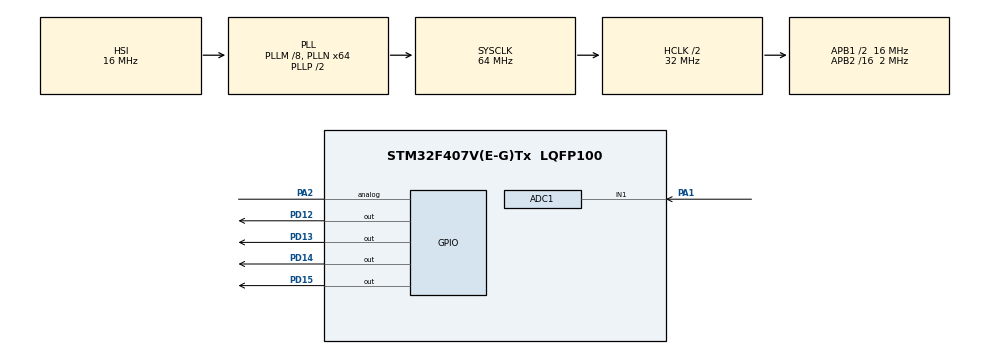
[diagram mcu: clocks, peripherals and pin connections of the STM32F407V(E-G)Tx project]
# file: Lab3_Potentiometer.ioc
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ADC1.Channel-0\#ChannelRegularConversion=ADC_CHANNEL_1
ADC1.ClockPrescaler=ADC_CLOCK_SYNC_PCLK_DIV2
ADC1.EnableAnalogWatchDog=false
ADC1.NbrOfConversionFlag=1
ADC1.Rank-0\#ChannelRegularConversion=1
ADC1.SamplingTime-0\#ChannelRegularConversion=ADC_SAMPLETIME_3CYCLES
ADC1.ScanConvMode=DISABLE
ADC1.master=1
Mcu.Family=STM32F4
Mcu.Name=STM32F407V(E-G)Tx
Mcu.Package=LQFP100
NVIC.PriorityGroup=NVIC_PRIORITYGROUP_0
PA1.Signal=ADCx_IN1
PA2.Signal=GPIO_Analog
PD12.Signal=GPIO_Output
PD13.Signal=GPIO_Output
PD14.Signal=GPIO_Output
PD15.Signal=GPIO_Output
ProjectManager.HeapSize=0x200
ProjectManager.StackSize=0x400
ProjectManager.TargetToolchain=STM32CubeIDE
RCC.48MHZClocksFreq_Value=18285714.285714287
RCC.AHBCLKDivider=RCC_SYSCLK_DIV2
RCC.AHBFreq_Value=32000000
RCC.APB1CLKDivider=RCC_HCLK_DIV2
RCC.APB1Freq_Value=16000000
RCC.APB1TimFreq_Value=32000000
RCC.APB2CLKDivider=RCC_HCLK_DIV16
RCC.APB2Freq_Value=2000000
RCC.APB2TimFreq_Value=4000000
RCC.CortexFreq_Value=32000000
RCC.HCLKFreq_Value=32000000
RCC.HSE_VALUE=8000000
RCC.HSI_VALUE=16000000
RCC.LSE_VALUE=32768
RCC.PLLM=8
RCC.PLLN=64
RCC.PLLQ=7
RCC.SYSCLKFreq_VALUE=64000000
RCC.SYSCLKSource=RCC_SYSCLKSOURCE_PLLCLK
RCC.VCOOutputFreq_Value=128000000
SH.ADCx_IN1.0=ADC1_IN1,IN1
board=STM32F407G-DISC1

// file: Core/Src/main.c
/* USER CODE BEGIN Header */
/**
  ******************************************************************************
  * @file           : main.c
  * @brief          : Main program body
  ******************************************************************************
  * @attention
  *
  * Copyright (c) 2025 STMicroelectronics.
  * All rights reserved.
  *
  * This software is licensed under terms that can be found in the LICENSE file
  * in the root directory of this software component.
  * If no LICENSE file comes with this software, it is provided AS-IS.
  *
  ******************************************************************************
  */
/* USER CODE END Header */
#include "main.h"

/* USER CODE BEGIN PD */
#define Max  4000
#define V  3000
#define Min  2000

/* USER CODE END PD */

ADC_HandleTypeDef hadc1;

void SystemClock_Config(void);
static void MX_GPIO_Init(void);
static void MX_ADC1_Init(void);

int main(void)
{
  /* USER CODE BEGIN 1 */
	uint16_t adc_output=0;
  /* USER CODE END 1 */

  /* MCU Configuration--------------------------------------------------------*/

  /* Reset of all peripherals, Initializes the Flash interface and the Systick. */
  HAL_Init();

  /* Configure the system clock */
  SystemClock_Config();

  /* Initialize all configured peripherals */
  MX_GPIO_Init();
  MX_ADC1_Init();

  /* Infinite loop */
  /* USER CODE BEGIN WHILE */
  while (1)
  {
	  if(HAL_ADC_Start(&hadc1)!= HAL_OK)
	  {
		  Error_Handler();
	  }
	  if(HAL_ADC_PollForConversion(&hadc1, 1)!= HAL_OK)
	  {
		  Error_Handler();
	  }
	  adc_output = (uint16_t)HAL_ADC_GetValue(&hadc1);
	  if (adc_output > Max)
	  {
		  HAL_GPIO_WritePin(GPIOD,GPIO_PIN_15, GPIO_PIN_SET);
		  HAL_GPIO_WritePin(GPIOD,GPIO_PIN_12, GPIO_PIN_SET);
		  HAL_GPIO_WritePin(GPIOD,GPIO_PIN_14, GPIO_PIN_SET);
		  HAL_GPIO_WritePin(GPIOD,GPIO_PIN_13, GPIO_PIN_SET);

	  }
	  else if (adc_output > V)
	  {
		  HAL_GPIO_WritePin(GPIOD,GPIO_PIN_15, GPIO_PIN_SET);
		  HAL_GPIO_WritePin(GPIOD,GPIO_PIN_14, GPIO_PIN_SET);
		  HAL_GPIO_WritePin(GPIOD,GPIO_PIN_13, GPIO_PIN_SET);
		  HAL_GPIO_WritePin(GPIOD,GPIO_PIN_12, GPIO_PIN_RESET);

	  }
	  else if (adc_output > Min)
	  {
		  HAL_GPIO_WritePin(GPIOD,GPIO_PIN_15, GPIO_PIN_SET);
		  HAL_GPIO_WritePin(GPIOD,GPIO_PIN_14, GPIO_PIN_SET);
		  HAL_GPIO_WritePin(GPIOD,GPIO_PIN_13, GPIO_PIN_RESET);
		  HAL_GPIO_WritePin(GPIOD,GPIO_PIN_12, GPIO_PIN_RESET);
	  }
	  else
	  {
		  HAL_GPIO_WritePin(GPIOD,GPIO_PIN_15, GPIO_PIN_SET);
		  HAL_GPIO_WritePin(GPIOD,GPIO_PIN_14, GPIO_PIN_RESET);
		  HAL_GPIO_WritePin(GPIOD,GPIO_PIN_13, GPIO_PIN_RESET);
		  HAL_GPIO_WritePin(GPIOD,GPIO_PIN_12, GPIO_PIN_RESET);

	  }
    /* USER CODE END WHILE */

  }
}

void SystemClock_Config(void)
{
  RCC_OscInitTypeDef RCC_OscInitStruct = {0};
  RCC_ClkInitTypeDef RCC_ClkInitStruct = {0};

  /** Configure the main internal regulator output voltage
  */
  __HAL_RCC_PWR_CLK_ENABLE();
  __HAL_PWR_VOLTAGESCALING_CONFIG(PWR_REGULATOR_VOLTAGE_SCALE1);

  /** Initializes the RCC Oscillators according to the specified parameters
  * in the RCC_OscInitTypeDef structure.
  */
  RCC_OscInitStruct.OscillatorType = RCC_OSCILLATORTYPE_HSI;
  RCC_OscInitStruct.HSIState = RCC_HSI_ON;
  RCC_OscInitStruct.HSICalibrationValue = RCC_HSICALIBRATION_DEFAULT;
  RCC_OscInitStruct.PLL.PLLState = RCC_PLL_ON;
  RCC_OscInitStruct.PLL.PLLSource = RCC_PLLSOURCE_HSI;
  RCC_OscInitStruct.PLL.PLLM = 8;
  RCC_OscInitStruct.PLL.PLLN = 64;
  RCC_OscInitStruct.PLL.PLLP = RCC_PLLP_DIV2;
  RCC_OscInitStruct.PLL.PLLQ = 7;
  if (HAL_RCC_OscConfig(&RCC_OscInitStruct) != HAL_OK)
  {
    Error_Handler();
  }

  /** Initializes the CPU, AHB and APB buses clocks
  */
  RCC_ClkInitStruct.ClockType = RCC_CLOCKTYPE_HCLK|RCC_CLOCKTYPE_SYSCLK
                              |RCC_CLOCKTYPE_PCLK1|RCC_CLOCKTYPE_PCLK2;
  RCC_ClkInitStruct.SYSCLKSource = RCC_SYSCLKSOURCE_PLLCLK;
  RCC_ClkInitStruct.AHBCLKDivider = RCC_SYSCLK_DIV2;
  RCC_ClkInitStruct.APB1CLKDivider = RCC_HCLK_DIV2;
  RCC_ClkInitStruct.APB2CLKDivider = RCC_HCLK_DIV16;

  if (HAL_RCC_ClockConfig(&RCC_ClkInitStruct, FLASH_LATENCY_1) != HAL_OK)
  {
    Error_Handler();
  }
}

static void MX_ADC1_Init(void)
{

  ADC_ChannelConfTypeDef sConfig = {0};

  /** Configure the global features of the ADC (Clock, Resolution, Data Alignment and number of conversion)
  */
  hadc1.Instance = ADC1;
  hadc1.Init.ClockPrescaler = ADC_CLOCK_SYNC_PCLK_DIV2;
  hadc1.Init.Resolution = ADC_RESOLUTION_12B;
  hadc1.Init.ScanConvMode = DISABLE;
  hadc1.Init.ContinuousConvMode = DISABLE;
  hadc1.Init.DiscontinuousConvMode = DISABLE;
  hadc1.Init.ExternalTrigConvEdge = ADC_EXTERNALTRIGCONVEDGE_NONE;
  hadc1.Init.ExternalTrigConv = ADC_SOFTWARE_START;
  hadc1.Init.DataAlign = ADC_DATAALIGN_RIGHT;
  hadc1.Init.NbrOfConversion = 1;
  hadc1.Init.DMAContinuousRequests = DISABLE;
  hadc1.Init.EOCSelection = ADC_EOC_SINGLE_CONV;
  if (HAL_ADC_Init(&hadc1) != HAL_OK)
  {
    Error_Handler();
  }

  /** Configure for the selected ADC regular channel its corresponding rank in the sequencer and its sample time.
  */
  sConfig.Channel = ADC_CHANNEL_1;
  sConfig.Rank = 1;
  sConfig.SamplingTime = ADC_SAMPLETIME_3CYCLES;
  if (HAL_ADC_ConfigChannel(&hadc1, &sConfig) != HAL_OK)
  {
    Error_Handler();
  }

}

static void MX_GPIO_Init(void)
{
  GPIO_InitTypeDef GPIO_InitStruct = {0};

  /* GPIO Ports Clock Enable */
  __HAL_RCC_GPIOA_CLK_ENABLE();
  __HAL_RCC_GPIOD_CLK_ENABLE();

  /*Configure GPIO pin Output Level */
  HAL_GPIO_WritePin(GPIOD, GPIO_PIN_12|GPIO_PIN_13|GPIO_PIN_14|GPIO_PIN_15, GPIO_PIN_RESET);

  /*Configure GPIO pin : PA2 */
  GPIO_InitStruct.Pin = GPIO_PIN_2;
  GPIO_InitStruct.Mode = GPIO_MODE_ANALOG;
  GPIO_InitStruct.Pull = GPIO_NOPULL;
  HAL_GPIO_Init(GPIOA, &GPIO_InitStruct);

  /*Configure GPIO pins : PD12 PD13 PD14 PD15 */
  GPIO_InitStruct.Pin = GPIO_PIN_12|GPIO_PIN_13|GPIO_PIN_14|GPIO_PIN_15;
  GPIO_InitStruct.Mode = GPIO_MODE_OUTPUT_PP;
  GPIO_InitStruct.Pull = GPIO_NOPULL;
  GPIO_InitStruct.Speed = GPIO_SPEED_FREQ_LOW;
  HAL_GPIO_Init(GPIOD, &GPIO_InitStruct);

}

void Error_Handler(void)
{
  __disable_irq();
  while (1)
  {
  }
}
